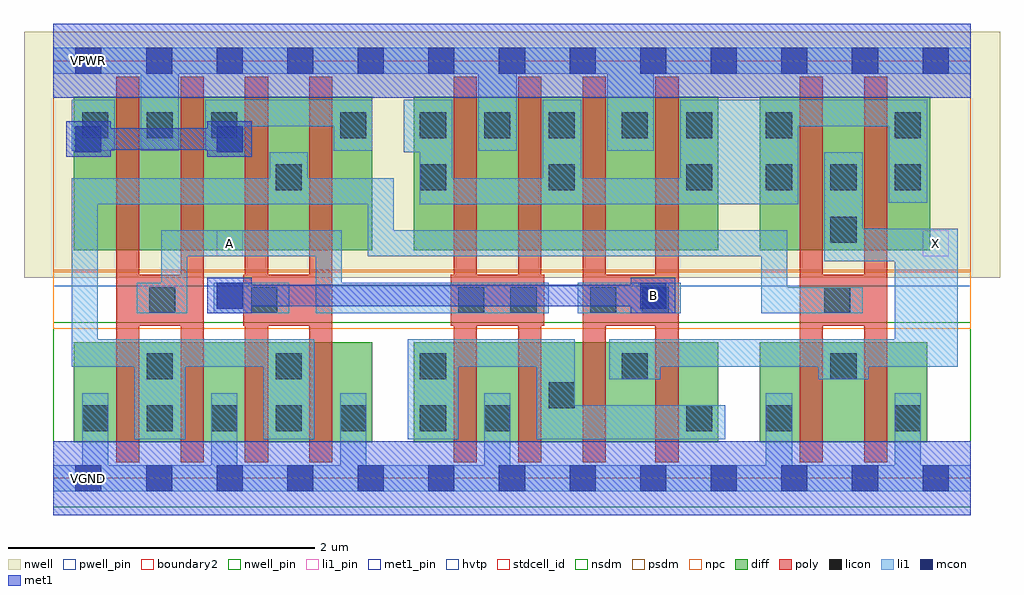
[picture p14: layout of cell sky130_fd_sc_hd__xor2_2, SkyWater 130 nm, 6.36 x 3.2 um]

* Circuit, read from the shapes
.subckt sky130_fd_sc_hd__xor2_2 A B VGND VNB VPB VPWR X
XM1 n1 A VGND VNB sky130_fd_pr__nfet_01v8 w=0.65 l=0.15 m=2
XM2 n1 B VGND VNB sky130_fd_pr__nfet_01v8 w=0.65 l=0.15 m=2
XM3 VGND A n2 VNB sky130_fd_pr__nfet_01v8 w=0.65 l=0.15 m=2
XM4 X B n2 VNB sky130_fd_pr__nfet_01v8 w=0.65 l=0.15 m=2
XM5 X n1 VGND VNB sky130_fd_pr__nfet_01v8 w=0.65 l=0.15 m=2
XM6 VPWR A n3 VPB sky130_fd_pr__pfet_01v8_hvt w=1 l=0.15 m=2
XM7 n1 B n3 VPB sky130_fd_pr__pfet_01v8_hvt w=1 l=0.15 m=2
XM8 VPWR A n4 VPB sky130_fd_pr__pfet_01v8_hvt w=1 l=0.15 m=2
XM9 VPWR B n4 VPB sky130_fd_pr__pfet_01v8_hvt w=1 l=0.15 m=2
XM10 X n1 n4 VPB sky130_fd_pr__pfet_01v8_hvt w=1 l=0.15 m=2
.ends

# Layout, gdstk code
import gdstk
lib = gdstk.Library(unit=1e-6, precision=1e-09)
def R(c, l, rs):  # rectangles x0, y0, x1, y1
    for r in rs: c.add(gdstk.rectangle(r[:2], r[2:], *l))
def A(c, l, x, y, w, h, nx, ny, dx, dy):  # array of equal rectangles
    R(c, l, [(x+i*dx, y+j*dy, x+i*dx+w, y+j*dy+h) for i in range(nx) for j in range(ny)])
def P(c, l, *ps):  # polygons
    for p in ps: c.add(gdstk.Polygon(p, *l))
nwell_pin = (64, 16)
nwell = (64, 20)
diff = (65, 20)
poly = (66, 20)
licon = (66, 44)
li1_pin = (67, 16)
li1 = (67, 20)
mcon = (67, 44)
met1_pin = (68, 16)
met1 = (68, 20)
hvtp = (78, 44)
stdcell_id = (81, 4)
nsdm = (93, 44)
psdm = (94, 20)
npc = (95, 20)
pwell_pin = (122, 16)
boundary2 = (236, 0)

sky130_fd_sc_hd__xor2_2 = lib.new_cell('sky130_fd_sc_hd__xor2_2')
R(sky130_fd_sc_hd__xor2_2, nwell_pin, [(0.145,2.635,0.315,2.805)])
R(sky130_fd_sc_hd__xor2_2, nwell, [(-0.19,1.305,6.17,2.91)])
R(sky130_fd_sc_hd__xor2_2, diff, [(0.135,0.235,2.08,0.885), (2.35,0.235,4.335,0.885), (4.605,0.235,5.695,0.885), (0.135,1.485,2.08,2.485), (2.35,1.485,4.335,2.485), (4.605,1.485,5.715,2.485)])
P(sky130_fd_sc_hd__xor2_2, poly, [(5.435,2.615),(5.285,2.615),(5.285,1.325),(5.015,1.325),(5.015,2.615),(4.865,2.615),(4.865,0.105),(5.015,0.105),(5.015,0.995),(5.285,0.995),(5.285,0.105),(5.435,0.105)],
  [(4.075,2.615),(3.925,2.615),(3.925,1.325),(3.6,1.325),(3.6,2.615),(3.45,2.615),(3.45,0.105),(3.6,0.105),(3.6,0.995),(3.925,0.995),(3.925,0.105),(4.075,0.105)],
  [(3.2,1.325),(3.18,1.325),(3.18,2.615),(3.03,2.615),(3.03,1.325),(2.76,1.325),(2.76,2.615),(2.61,2.615),(2.61,1.325),(2.59,1.325),(2.59,0.995),(2.61,0.995),(2.61,0.105),(2.76,0.105),(2.76,0.995),(3.03,0.995),(3.03,0.105),(3.18,0.105),(3.18,0.995),(3.2,0.995)],
  [(1.82,2.615),(1.67,2.615),(1.67,1.325),(1.4,1.325),(1.4,2.615),(1.25,2.615),(1.25,1.325),(1.24,1.325),(1.24,0.995),(1.25,0.995),(1.25,0.105),(1.4,0.105),(1.4,0.995),(1.67,0.995),(1.67,0.105),(1.82,0.105)],
  [(0.98,2.615),(0.83,2.615),(0.83,1.325),(0.56,1.325),(0.56,2.615),(0.41,2.615),(0.41,0.105),(0.56,0.105),(0.56,0.995),(0.83,0.995),(0.83,0.105),(0.98,0.105)])
A(sky130_fd_sc_hd__xor2_2, licon, 0.19, 0.305, 0.17, 0.17, 5, 1, 0.42, 0)
A(sky130_fd_sc_hd__xor2_2, licon, 4.645, 1.875, 0.17, 0.17, 3, 1, 0.42, 0)
A(sky130_fd_sc_hd__xor2_2, licon, 0.19, 2.215, 0.17, 0.17, 3, 1, 0.42, 0)
A(sky130_fd_sc_hd__xor2_2, licon, 2.39, 2.215, 0.17, 0.17, 3, 1, 0.42, 0)
R(sky130_fd_sc_hd__xor2_2, licon, [(2.39,0.305,2.56,0.475), (2.81,0.305,2.98,0.475), (4.125,0.305,4.295,0.475), (4.645,0.305,4.815,0.475), (5.485,0.305,5.655,0.475), (3.23,0.455,3.4,0.625), (0.61,0.645,0.78,0.815), (1.45,0.645,1.62,0.815), (2.39,0.645,2.56,0.815), (3.705,0.645,3.875,0.815), (5.065,0.645,5.235,0.815), (0.625,1.075,0.795,1.245), (1.29,1.075,1.46,1.245), (2.64,1.075,2.81,1.245), (2.98,1.075,3.15,1.245), (3.5,1.075,3.67,1.245), (3.84,1.075,4.01,1.245), (5.025,1.075,5.195,1.245), (5.065,1.535,5.235,1.705), (1.45,1.875,1.62,2.045), (2.39,1.875,2.56,2.045), (3.23,1.875,3.4,2.045), (4.125,1.875,4.295,2.045), (1.87,2.215,2.04,2.385), (3.705,2.215,3.875,2.385), (4.125,2.215,4.295,2.385), (4.645,2.215,4.815,2.385), (5.485,2.215,5.655,2.385)])
R(sky130_fd_sc_hd__xor2_2, li1_pin, [(3.825,1.105,3.995,1.275), (1.065,1.445,1.235,1.615), (5.665,1.445,5.835,1.615)])
R(sky130_fd_sc_hd__xor2_2, li1, [(1.045,1.075,1.54,1.275), (3.42,1.075,4.09,1.275)])
P(sky130_fd_sc_hd__xor2_2, li1, [(5.695,2.465),(4.085,2.465),(4.085,1.955),(3.44,1.955),(3.44,2.465),(3.19,2.465),(3.19,1.955),(2.6,1.955),(2.6,2.465),(2.285,2.465),(2.285,2.125),(2.39,2.125),(2.39,1.785),(4.855,1.785),(4.855,2.295),(5.445,2.295),(5.445,1.795),(5.695,1.795)],
  [(5.275,1.245),(4.785,1.245),(4.785,1.615),(2.22,1.615),(2.22,1.955),(1.66,1.955),(1.66,2.125),(1.41,2.125),(1.41,1.955),(0.12,1.955),(0.12,0.725),(0.53,0.725),(0.53,0.255),(0.86,0.255),(0.86,0.725),(1.37,0.725),(1.37,0.255),(1.7,0.255),(1.7,0.905),(0.29,0.905),(0.29,1.785),(2.05,1.785),(2.05,1.445),(4.615,1.445),(4.615,1.075),(5.275,1.075)],
  [(4.38,0.475),(3.4,0.475),(3.4,0.905),(2.31,0.905),(2.31,0.255),(2.64,0.255),(2.64,0.725),(3.15,0.725),(3.15,0.255),(4.38,0.255)],
  [(5.98,0.085),(5.655,0.085),(5.655,0.555),(5.485,0.555),(5.485,0.085),(4.815,0.085),(4.815,0.555),(4.645,0.555),(4.645,0.085),(2.98,0.085),(2.98,0.555),(2.81,0.555),(2.81,0.085),(2.04,0.085),(2.04,0.555),(1.87,0.555),(1.87,0.085),(1.2,0.085),(1.2,0.555),(1.03,0.555),(1.03,0.085),(0.36,0.085),(0.36,0.555),(0.19,0.555),(0.19,0.085),(0,0.085),(0,-0.085),(5.98,-0.085)],
  [(3.23,1.275),(1.88,1.275),(1.88,1.615),(0.705,1.615),(0.705,1.275),(0.545,1.275),(0.545,1.075),(0.875,1.075),(0.875,1.445),(1.71,1.445),(1.71,1.075),(3.23,1.075)],
  [(2.08,2.465),(0.99,2.465),(0.99,2.135),(1.065,2.135),(1.065,2.125),(1.235,2.125),(1.235,2.135),(1.24,2.135),(1.24,2.295),(1.83,2.295),(1.83,2.135),(2.08,2.135)],
  [(0.4,2.465),(0.12,2.465),(0.12,2.135),(0.145,2.135),(0.145,2.125),(0.315,2.125),(0.315,2.135),(0.4,2.135)],
  [(5.895,1.625),(5.275,1.625),(5.275,2.125),(5.025,2.125),(5.025,1.415),(5.485,1.415),(5.485,0.905),(3.625,0.905),(3.625,0.645),(3.955,0.645),(3.955,0.725),(4.985,0.725),(4.985,0.645),(5.315,0.645),(5.315,0.725),(5.895,0.725)],
  [(5.98,2.805),(0,2.805),(0,2.635),(0.57,2.635),(0.57,2.135),(0.82,2.135),(0.82,2.635),(2.77,2.635),(2.77,2.135),(3.02,2.135),(3.02,2.635),(3.61,2.635),(3.61,2.135),(3.915,2.135),(3.915,2.635),(5.98,2.635)])
A(sky130_fd_sc_hd__xor2_2, mcon, 0.145, -0.085, 0.17, 0.17, 13, 2, 0.46, 2.72)
R(sky130_fd_sc_hd__xor2_2, mcon, [(1.065,1.105,1.235,1.275), (3.825,1.105,3.995,1.275), (0.145,2.125,0.315,2.295), (1.065,2.125,1.235,2.295)])
R(sky130_fd_sc_hd__xor2_2, met1_pin, [(0.145,-0.085,0.315,0.085), (0.145,2.635,0.315,2.805)])
P(sky130_fd_sc_hd__xor2_2, met1, [(4.055,1.305),(3.765,1.305),(3.765,1.26),(1.295,1.26),(1.295,1.305),(1.005,1.305),(1.005,1.075),(1.295,1.075),(1.295,1.12),(3.765,1.12),(3.765,1.075),(4.055,1.075)],
  [(1.295,2.325),(1.005,2.325),(1.005,2.28),(0.375,2.28),(0.375,2.325),(0.085,2.325),(0.085,2.095),(0.375,2.095),(0.375,2.14),(1.005,2.14),(1.005,2.095),(1.295,2.095)])
R(sky130_fd_sc_hd__xor2_2, hvtp, [(0,1.25,5.98,2.72)])
R(sky130_fd_sc_hd__xor2_2, stdcell_id, [(0,0,5.98,2.72)])
R(sky130_fd_sc_hd__xor2_2, nsdm, [(0,-0.19,5.98,1.015)])
R(sky130_fd_sc_hd__xor2_2, psdm, [(0,1.355,5.98,2.91)])
R(sky130_fd_sc_hd__xor2_2, npc, [(0,0.975,5.98,1.345)])
R(sky130_fd_sc_hd__xor2_2, pwell_pin, [(0.145,-0.085,0.315,0.085)])
R(sky130_fd_sc_hd__xor2_2, boundary2, [(0,0,5.98,2.72)])
sky130_fd_sc_hd__xor2_2.add(gdstk.FlexPath([(0,0),(5.98,0)], 0.48, ends="flush", simple_path=True, layer=68, datatype=20))  # met1
sky130_fd_sc_hd__xor2_2.add(gdstk.FlexPath([(0,2.72),(5.98,2.72)], 0.48, ends="flush", simple_path=True, layer=68, datatype=20))  # met1
sky130_fd_sc_hd__xor2_2.add(gdstk.Label('VPWR', (0.23,2.72), layer=68, texttype=5))
sky130_fd_sc_hd__xor2_2.add(gdstk.Label('VGND', (0.23,0), layer=68, texttype=5))
sky130_fd_sc_hd__xor2_2.add(gdstk.Label('X', (5.75,1.53), layer=67, texttype=5))
sky130_fd_sc_hd__xor2_2.add(gdstk.Label('B', (3.91,1.19), layer=67, texttype=5))
sky130_fd_sc_hd__xor2_2.add(gdstk.Label('A', (1.15,1.53), layer=67, texttype=5))
sky130_fd_sc_hd__xor2_2.add(gdstk.Label('VPB', (0.23,2.72), layer=64, texttype=5))
sky130_fd_sc_hd__xor2_2.add(gdstk.Label('VNB', (0.23,0), layer=64, texttype=59))
sky130_fd_sc_hd__xor2_2.add(gdstk.Label('xor2_2', (0,0), layer=83, texttype=44))

lib.write_gds('sky130_fd_sc_hd__xor2_2.gds')
